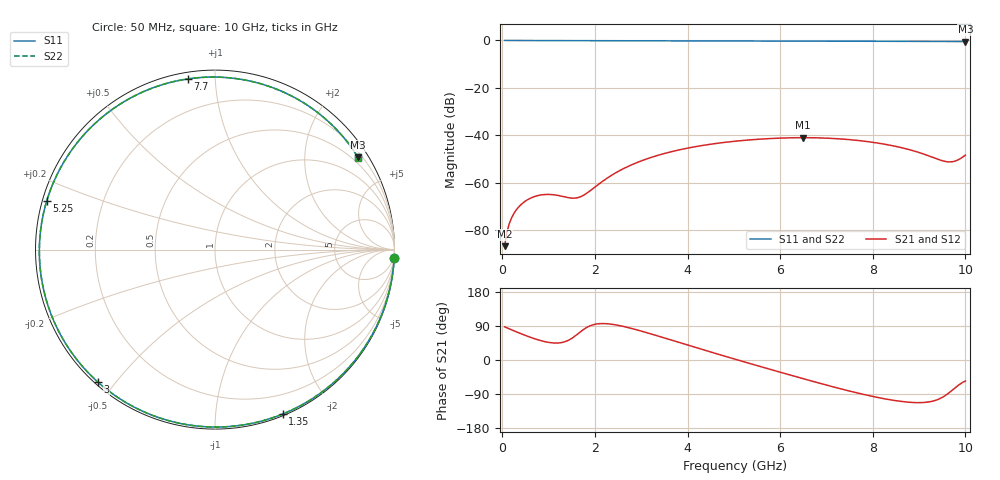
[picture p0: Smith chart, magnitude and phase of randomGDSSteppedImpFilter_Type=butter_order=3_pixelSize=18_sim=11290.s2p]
! freq	dB(S11)	phase(S11)	dB(S12)	phase(S12)
!  dB(S21)	phase(S21)	dB(S22)	phase(S22)
!S-par simulation data
#  GHz  S  DB  R 50
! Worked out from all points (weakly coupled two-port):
!   200 points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, 50 MHz to 10 GHz, reference 50 ohm
!   highest |S21| = -40.97 dB at 6.5 GHz (marker M1); lowest = -86.7 dB at 50 MHz (marker M2)
!   lowest |S11| = -0.5 dB at 10 GHz (marker M3), VSWR 37.58, Z = 16.5 + j168 ohm
!   |S11| at or under -10 dB: nowhere
!   |S22| runs from -0.5 to 0.0 dB; largest |S21 - S12| = 0
!   S11 on the Smith chart (normalised r, x): 50 MHz: 0, -43; 1.35 GHz: 0.02, -1.49; 3 GHz: 0.01, -0.45; 5.25 GHz: 0.01, +0.14; 7.7 GHz: 0.03, +0.85; 10 GHz: 0.33, +3.36
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0.05  -0.00 -2.7  -86.69 87.4  -86.69 87.4  -0.00 -2.7
0.1  -0.01 -5.3  -80.70 84.8  -80.70 84.8  -0.01 -5.3
0.2  -0.01 -10.6  -74.80 79.6  -74.80 79.6  -0.01 -10.6
0.3  -0.02 -15.8  -71.48 74.5  -71.48 74.5  -0.02 -15.9
0.55  -0.04 -28.8  -67.07 62.4  -67.07 62.4  -0.04 -28.8
0.9  -0.06 -46.4  -64.96 49.0  -64.96 49.0  -0.06 -46.4
1.35  -0.08 -67.6  -65.93 48.2  -65.93 48.2  -0.08 -67.7
1.75  -0.10 -85.1  -65.30 80.1  -65.30 80.1  -0.10 -85.1
2.4  -0.11 -110.6  -56.34 93.7  -56.34 93.7  -0.11 -110.7
3  -0.13 -131.4  -50.76 76.3  -50.76 76.3  -0.13 -131.5
3.4  -0.14 -144.2  -48.18 61.9  -48.18 61.9  -0.14 -144.2
4.2  -0.17 -167.6  -44.65 32.2  -44.65 32.2  -0.17 -167.7
5.05  -0.20 169.3  -42.42 1.2  -42.42 1.2  -0.20 169.2
5.25  -0.21 164.0  -42.06 -5.9  -42.06 -5.9  -0.21 163.9
6.5  -0.27 131.3  -40.97 -49.4  -40.97 -49.4  -0.27 131.1
6.7  -0.28 126.0  -41.00 -56.2  -41.00 -56.2  -0.28 125.8
7.7  -0.33 99.0  -42.19 -87.9  -42.19 -87.9  -0.33 98.8
8.35  -0.36 80.9  -44.06 -104.4  -44.06 -104.4  -0.36 80.6
8.95  -0.39 63.6  -46.92 -112.5  -46.92 -112.5  -0.39 63.4
9.6  -0.43 44.6  -51.10 -90.9  -51.10 -90.9  -0.43 44.3
9.8  -0.44 38.8  -50.69 -71.3  -50.69 -71.3  -0.45 38.4
10  -0.46 32.9  -48.32 -55.5  -48.32 -55.5  -0.46 32.5
